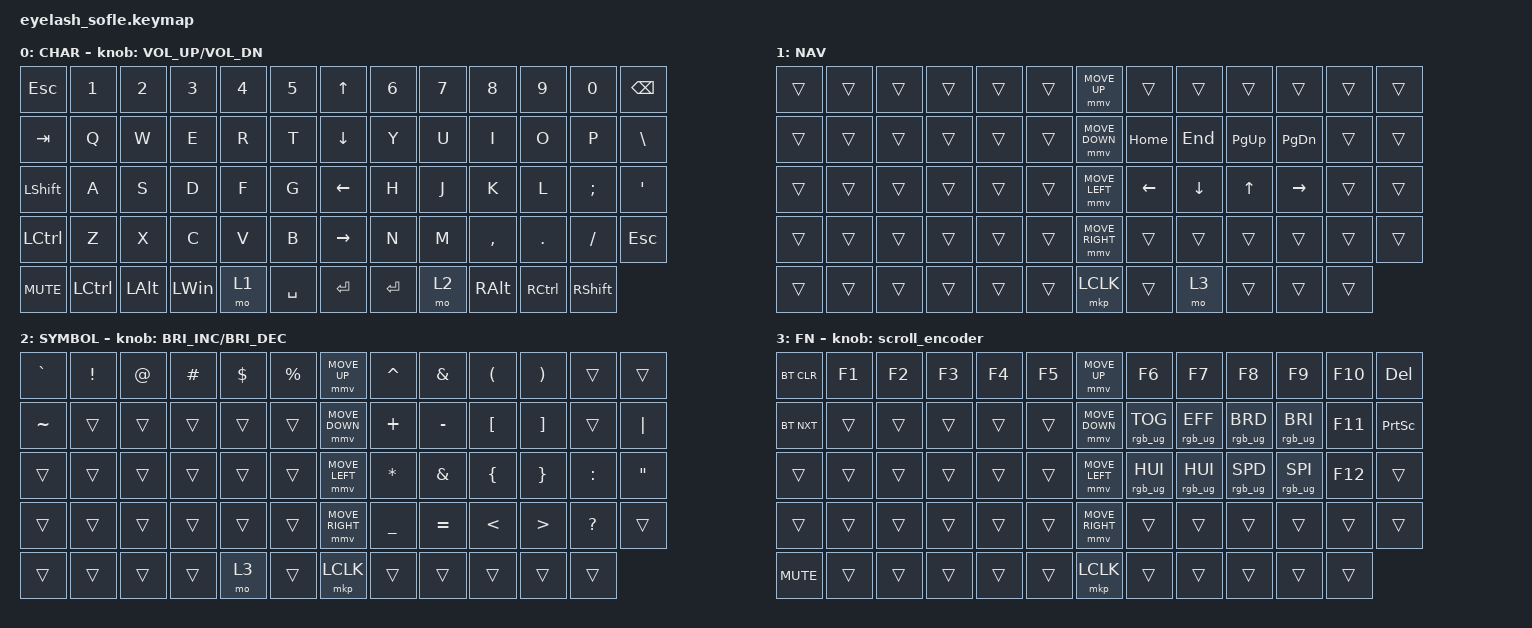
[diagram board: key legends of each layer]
#define ZMK_POINTING_DEFAULT_MOVE_VAL 1200  // 600
#define ZMK_POINTING_DEFAULT_SCRL_VAL 25   // 10

#include <input/processors.dtsi>
#include <zephyr/dt-bindings/input/input-event-codes.h>
#include <behaviors.dtsi>
#include <dt-bindings/zmk/bt.h>
#include <dt-bindings/zmk/keys.h>
#include <dt-bindings/zmk/pointing.h>
#include <dt-bindings/zmk/rgb.h>

&mmv_input_listener { input-processors = <&zip_xy_scaler 2 1>; };

&msc_input_listener { input-processors = <&zip_scroll_scaler 2 1>; };

&msc {
    acceleration-exponent = <1>;      // 0
    time-to-max-speed-ms = <100>;       // 300
    delay-ms = <0>;                   // 0
};

&mmv {
    time-to-max-speed-ms = <500>;
    acceleration-exponent = <1>;
    trigger-period-ms = <16>;
};

/ {
    scroll_encoder: scroll_encoder {
        compatible = "zmk,behavior-sensor-rotate";
        #sensor-binding-cells = <0>;
        bindings = <&msc SCRL_DOWN>, <&msc SCRL_UP>;

        tap-ms = <100>;
    };

    behaviors {
    };

    keymap {
        compatible = "zmk,keymap";

        CHAR {
            bindings = <
&kp ESC         &kp N1     &kp N2        &kp N3        &kp N4  &kp N5       &kp UP_ARROW     &kp N6     &kp N7  &kp N8         &kp N9     &kp N0           &kp BACKSPACE
&kp TAB         &kp Q      &kp W         &kp E         &kp R   &kp T        &kp DOWN_ARROW   &kp Y      &kp U   &kp I          &kp O      &kp P            &kp BSLH
&kp LEFT_SHIFT  &kp A      &kp S         &kp D         &kp F   &kp G        &kp LEFT_ARROW   &kp H      &kp J   &kp K          &kp L      &kp SEMI         &kp APOS
&kp LCTRL       &kp Z      &kp X         &kp C         &kp V   &kp B        &kp RIGHT_ARROW  &kp N      &kp M   &kp COMMA      &kp DOT    &kp FSLH         &kp ESCAPE
&kp C_MUTE      &kp LCTRL  &kp LEFT_ALT  &kp LEFT_WIN  &mo 1   &kp SPACE    &kp ENTER        &kp ENTER  &mo 2   &kp RIGHT_ALT  &kp RCTRL  &kp RIGHT_SHIFT
            >;

            sensor-bindings = <&inc_dec_kp C_VOLUME_UP C_VOL_DN>;
            display-name = "CHAR";
        };

        NAV {
            bindings = <
&trans  &trans  &trans  &trans  &trans  &trans    &mmv MOVE_UP     &trans          &trans          &trans        &trans           &trans  &trans
&trans  &trans  &trans  &trans  &trans  &trans    &mmv MOVE_DOWN   &kp HOME        &kp END         &kp PAGE_UP   &kp PAGE_DOWN    &trans  &trans
&trans  &trans  &trans  &trans  &trans  &trans    &mmv MOVE_LEFT   &kp LEFT_ARROW  &kp DOWN_ARROW  &kp UP_ARROW  &kp RIGHT_ARROW  &trans  &trans
&trans  &trans  &trans  &trans  &trans  &trans    &mmv MOVE_RIGHT  &trans          &trans          &trans        &trans           &trans  &trans
&trans  &trans  &trans  &trans  &trans  &trans    &mkp LCLK        &trans          &mo 3           &trans        &trans           &trans
            >;

            label = "NAV";
        };

        SYMBOL {
            bindings = <
&kp GRAVE  &kp EXCL  &kp AT  &kp POUND  &kp DOLLAR  &kp PERCENT    &mmv MOVE_UP     &kp CARET  &kp AMPS   &kp LEFT_PARENTHESIS  &kp RIGHT_PARENTHESIS  &trans        &trans
&kp TILDE  &trans    &trans  &trans     &trans      &trans         &mmv MOVE_DOWN   &kp PLUS   &kp MINUS  &kp LEFT_BRACKET      &kp RIGHT_BRACKET      &trans        &kp PIPE
&trans     &trans    &trans  &trans     &trans      &trans         &mmv MOVE_LEFT   &kp STAR   &kp AMPS   &kp LEFT_BRACE        &kp RIGHT_BRACE        &kp COLON     &kp DOUBLE_QUOTES
&trans     &trans    &trans  &trans     &trans      &trans         &mmv MOVE_RIGHT  &kp UNDER  &kp EQUAL  &kp LESS_THAN         &kp GREATER_THAN       &kp QUESTION  &trans
&trans     &trans    &trans  &trans     &mo 3       &trans         &mkp LCLK        &trans     &trans     &trans                &trans                 &trans
            >;

            sensor-bindings = <&inc_dec_kp C_BRIGHTNESS_INC C_BRIGHTNESS_DEC>;
            label = "SYMBOL";
        };

        FN {
            bindings = <
&bt BT_CLR  &kp F1  &kp F2  &kp F3  &kp F4  &kp F5    &mmv MOVE_UP     &kp F6           &kp F7           &kp F8           &kp F9           &kp F10  &kp DEL
&bt BT_NXT  &trans  &trans  &trans  &trans  &trans    &mmv MOVE_DOWN   &rgb_ug RGB_TOG  &rgb_ug RGB_EFF  &rgb_ug RGB_BRD  &rgb_ug RGB_BRI  &kp F11  &kp PRINTSCREEN
&trans      &trans  &trans  &trans  &trans  &trans    &mmv MOVE_LEFT   &rgb_ug RGB_HUI  &rgb_ug RGB_HUI  &rgb_ug RGB_SPD  &rgb_ug RGB_SPI  &kp F12  &trans
&trans      &trans  &trans  &trans  &trans  &trans    &mmv MOVE_RIGHT  &trans           &trans           &trans           &trans           &trans   &trans
&kp C_MUTE  &trans  &trans  &trans  &trans  &trans    &mkp LCLK        &trans           &trans           &trans           &trans           &trans
            >;

            display-name = "FN";
            sensor-bindings = <&scroll_encoder>;
        };
    };
};
